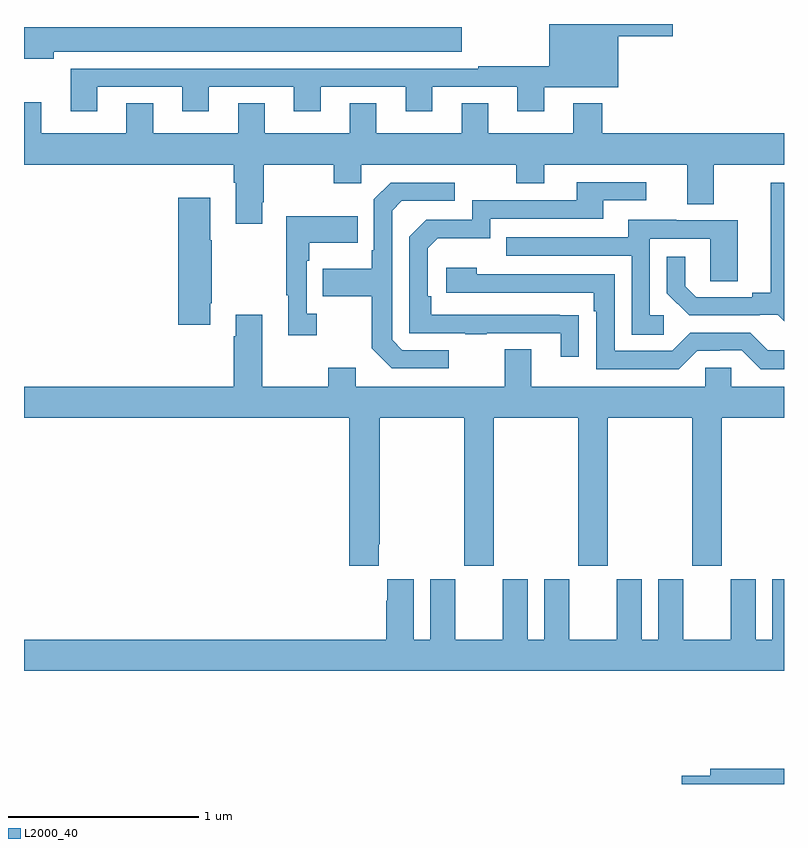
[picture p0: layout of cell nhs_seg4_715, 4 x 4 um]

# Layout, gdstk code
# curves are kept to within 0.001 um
import gdstk
lib = gdstk.Library(unit=1e-6, precision=1e-09)
def P(c, l, *ps):  # polygons
    for p in ps: c.add(gdstk.Polygon(p, *l))
L2000_40 = (2000, 40)

nhs_seg4_715 = lib.new_cell('nhs_seg4_715')
P(nhs_seg4_715, L2000_40, [(147.385,790.569),(147.833,790.569),(147.833,790.44),(147.973,790.44),(147.973,790.569),(148.421,790.569),(148.421,790.44),(148.561,790.44),(148.561,790.569),(149.009,790.569),(149.009,790.44),(149.149,790.44),(149.149,790.569),(149.597,790.569),(149.597,790.44),(149.737,790.44),(149.737,790.568),(150.127,790.568),(150.127,790.835),(150.415,790.835),(150.415,790.9),(149.765,790.9),(149.765,790.678),(149.392,790.678),(149.392,790.665),(147.245,790.665),(147.245,790.44),(147.385,790.44)],
  [(147.157,790.754),(149.305,790.754),(149.305,790.882),(147,790.882),(147,790.718),(147.157,790.718)],
  [(148.103,790.064),(148.115,790.064),(148.115,789.849),(148.255,789.849),(148.255,789.961),(148.263,789.961),(148.263,790.16),(148.63,790.16),(148.63,790.061),(148.776,790.061),(148.776,790.16),(149.59,790.16),(149.59,790.061),(149.737,790.061),(149.737,790.16),(150.491,790.16),(150.491,789.952),(150.631,789.952),(150.631,790.16),(151,790.16),(151,790.324),(150.044,790.324),(150.044,790.483),(149.891,790.483),(149.891,790.324),(149.443,790.324),(149.443,790.484),(149.303,790.484),(149.303,790.324),(148.855,790.324),(148.855,790.484),(148.715,790.484),(148.715,790.324),(148.267,790.324),(148.267,790.484),(148.127,790.484),(148.127,790.324),(147.679,790.324),(147.679,790.484),(147.539,790.484),(147.539,790.324),(147.091,790.324),(147.091,790.489),(147,790.489),(147,790.16),(148.103,790.16)],
  [(149.921,789.368),(149.144,789.369),(149.144,789.466),(149.124,789.466),(149.124,789.72),(149.177,789.773),(149.454,789.773),(149.454,789.876),(150.049,789.876),(150.049,789.972),(150.274,789.972),(150.274,790.068),(149.909,790.068),(149.909,789.972),(149.358,789.972),(149.358,789.87),(149.118,789.87),(149.028,789.78),(149.028,789.273),(149.323,789.273),(149.323,789.268),(149.435,789.268),(149.435,789.273),(149.825,789.273),(149.825,789.15),(149.921,789.15)],
  [(149.236,789.183),(148.992,789.183),(148.938,789.237),(148.938,789.918),(148.989,789.969),(149.266,789.969),(149.266,790.065),(148.929,790.065),(148.842,789.978),(148.842,789.709),(148.83,789.709),(148.83,789.613),(148.573,789.613),(148.573,789.466),(148.83,789.466),(148.83,789.193),(148.935,789.087),(149.236,789.087)],
  [(151,790.065),(150.929,790.065),(150.929,789.485),(150.833,789.485),(150.833,789.462),(150.538,789.462),(150.481,789.519),(150.481,789.676),(150.384,789.676),(150.384,789.482),(150.5,789.366),(150.872,789.366),(150.872,789.369),(150.966,789.369),(151,789.335)],
  [(147.979,789.43),(147.987,789.43),(147.987,789.761),(147.979,789.761),(147.979,789.985),(147.812,789.985),(147.812,789.318),(147.979,789.318)],
  [(148.54,789.374),(148.488,789.374),(148.488,789.653),(148.501,789.653),(148.501,789.749),(148.757,789.749),(148.757,789.889),(148.38,789.889),(148.38,789.473),(148.391,789.473),(148.391,789.261),(148.54,789.261)],
  [(150.367,789.366),(150.294,789.366),(150.294,789.771),(150.612,789.771),(150.612,789.547),(150.757,789.547),(150.757,789.867),(150.433,789.867),(150.433,789.871),(150.179,789.871),(150.179,789.777),(149.539,789.777),(149.539,789.681),(150.198,789.681),(150.198,789.265),(150.367,789.265)],
  [(151,789.183),(150.915,789.183),(150.822,789.276),(150.507,789.276),(150.411,789.18),(150.108,789.18),(150.108,789.582),(149.384,789.582),(149.384,789.616),(149.223,789.616),(149.223,789.486),(149.999,789.486),(149.999,789.389),(150.012,789.389),(150.012,789.084),(150.447,789.084),(150.543,789.18),(150.662,789.18),(150.662,789.183),(150.777,789.183),(150.877,789.083),(151,789.083)],
  [(148.867,788.161),(148.872,788.161),(148.872,788.828),(149.317,788.828),(149.317,788.049),(149.472,788.049),(149.472,788.828),(149.917,788.828),(149.917,788.049),(150.072,788.049),(150.072,788.828),(150.517,788.828),(150.517,788.049),(150.672,788.049),(150.672,788.828),(151,788.828),(151,788.992),(150.723,788.992),(150.723,789.09),(150.585,789.09),(150.585,788.992),(149.671,788.992),(149.671,789.187),(149.531,789.187),(149.531,788.992),(148.747,788.992),(148.747,789.091),(148.6,789.091),(148.6,788.992),(148.255,788.992),(148.255,789.37),(148.115,789.37),(148.115,789.257),(148.103,789.257),(148.103,788.992),(147,788.992),(147,788.828),(148.712,788.828),(148.712,788.049),(148.867,788.049)],
  [(149.738,787.978),(149.738,787.66),(149.65,787.66),(149.65,787.978),(149.519,787.978),(149.519,787.66),(149.269,787.66),(149.269,787.978),(149.138,787.978),(149.138,787.66),(149.05,787.66),(149.05,787.978),(148.913,787.978),(148.913,787.865),(148.907,787.865),(148.907,787.66),(147,787.66),(147,787.496),(151,787.496),(151,787.978),(150.938,787.978),(150.938,787.66),(150.85,787.66),(150.85,787.978),(150.719,787.978),(150.719,787.66),(150.469,787.66),(150.469,787.978),(150.338,787.978),(150.338,787.66),(150.25,787.66),(150.25,787.978),(150.119,787.978),(150.119,787.66),(149.869,787.66),(149.869,787.978)],
  [(151,786.98),(150.611,786.98),(150.611,786.944),(150.462,786.944),(150.462,786.9),(151,786.9)])

lib.write_gds('nhs_seg4_715.gds')
